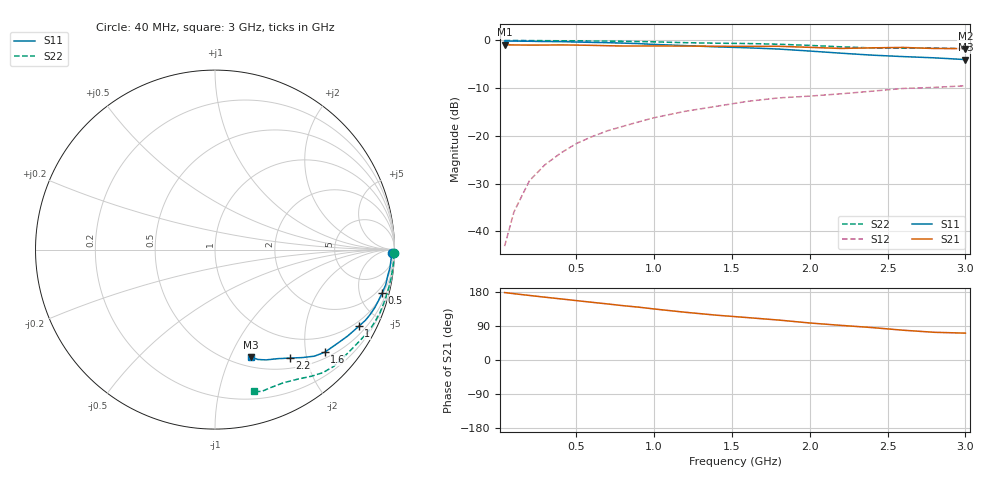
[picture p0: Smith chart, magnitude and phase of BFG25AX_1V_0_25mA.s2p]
! Filename:  BFG25AXB.S2P  Version:  2.0
! Philips part #: BFG25A/X  Date: May 1990
! Bias condition: Vce=1V, Ic=0.25mA
#  MHz  S  MA  R  50
! Freq  S11  S21  S12  S22  !GUM [dB]
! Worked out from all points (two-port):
!   21 points, 40 MHz to 3 GHz, reference 50 ohm
!   highest |S21| = -0.92 dB at 40 MHz (marker M1); lowest = -1.7 dB at 3 GHz (marker M2)
!   |S21| within 3 dB of the highest: start of sweep to end of sweep
!   lowest |S11| = -4.0 dB at 3 GHz (marker M3), VSWR 4.41, Z = 30.2 - j59.8 ohm
!   |S11| at or under -10 dB: nowhere
!   |S22| runs from -1.7 to 0.0 dB; largest |S21 - S12| = 0.9
!   S11 on the Smith chart (normalised r, x): 40 MHz: 46, -60; 500 MHz: 1.19, -7.68; 1 GHz: 0.79, -3.84; 1.6 GHz: 0.63, -2.39; 2.2 GHz: 0.65, -1.72; 3 GHz: 0.60, -1.20
40  0.984 -1.2  0.9 178.0  0.007 85.2  0.999 -1.2
100  0.983 -3.0  0.897 175.0  0.016 88.0  0.998 -3.1
200  0.98 -5.9  0.893 170.3  0.034 85.0  0.996 -6.1
300  0.973 -8.8  0.894 165.7  0.05 82.7  0.994 -9.1
400  0.971 -11.7  0.898 161.3  0.066 80.4  0.991 -12.2
500  0.962 -14.5  0.893 156.8  0.083 78.7  0.989 -15.2
600  0.954 -17.4  0.888 152.3  0.098 76.9  0.986 -18.1
700  0.947 -20.0  0.88 148.0  0.113 75.0  0.984 -20.9
800  0.937 -22.7  0.874 143.4  0.126 73.2  0.979 -23.5
900  0.926 -25.2  0.874 139.5  0.14 71.1  0.973 -26.2
1000  0.908 -28.1  0.875 134.7  0.155 69.2  0.966 -28.9
1200  0.882 -33.1  0.873 126.0  0.181 64.3  0.947 -34.2
1400  0.856 -38.2  0.868 118.3  0.204 60.8  0.935 -39.5
1600  0.837 -43.1  0.866 111.9  0.23 58.2  0.928 -44.5
1800  0.812 -47.0  0.868 105.4  0.25 54.4  0.912 -48.7
2000  0.774 -51.0  0.846 97.7  0.261 50.9  0.887 -52.7
2200  0.735 -55.3  0.824 91.4  0.276 48.0  0.857 -57.3
2400  0.701 -60.1  0.836 85.6  0.294 43.8  0.834 -62.9
2600  0.677 -65.2  0.844 78.6  0.314 40.0  0.829 -68.0
2800  0.657 -68.7  0.823 73.1  0.322 37.9  0.832 -71.8
3000  0.63 -71.6  0.821 70.9  0.335 37.7  0.819 -74.8
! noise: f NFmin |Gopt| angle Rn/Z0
500  1.4  0.92  4  4
1000  1.6  0.81  13  3.8
2000  1.7  0.8  39  2.4
